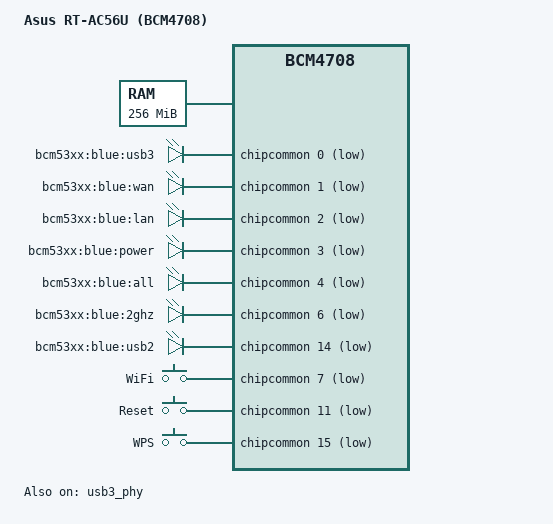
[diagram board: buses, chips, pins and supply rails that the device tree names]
// SPDX-License-Identifier: GPL-2.0-or-later OR MIT
/*
 * Broadcom BCM470X / BCM5301X ARM platform code.
 * DTS for Asus RT-AC56U
 *
 * Copyright (C) 2015 Rafał Miłecki <zajec5@gmail.com>
 */

/dts-v1/;

#include "bcm4708.dtsi"
#include "bcm5301x-nand-cs0-bch8.dtsi"

/ {
	compatible = "asus,rt-ac56u", "brcm,bcm4708";
	model = "Asus RT-AC56U (BCM4708)";

	chosen {
		bootargs = "console=ttyS0,115200";
	};

	memory@0 {
		device_type = "memory";
		reg = <0x00000000 0x08000000>,
		      <0x88000000 0x08000000>;
	};

	leds {
		compatible = "gpio-leds";

		led-usb3 {
			label = "bcm53xx:blue:usb3";
			gpios = <&chipcommon 0 GPIO_ACTIVE_LOW>;
		};

		led-wan {
			label = "bcm53xx:blue:wan";
			gpios = <&chipcommon 1 GPIO_ACTIVE_LOW>;
		};

		led-lan {
			label = "bcm53xx:blue:lan";
			gpios = <&chipcommon 2 GPIO_ACTIVE_LOW>;
		};

		led-power {
			label = "bcm53xx:blue:power";
			gpios = <&chipcommon 3 GPIO_ACTIVE_LOW>;
			linux,default-trigger = "default-on";
		};

		led-all {
			label = "bcm53xx:blue:all";
			gpios = <&chipcommon 4 GPIO_ACTIVE_LOW>;
			linux,default-trigger = "default-on";
		};

		led-2ghz {
			label = "bcm53xx:blue:2ghz";
			gpios = <&chipcommon 6 GPIO_ACTIVE_LOW>;
		};

		led-usb2 {
			label = "bcm53xx:blue:usb2";
			gpios = <&chipcommon 14 GPIO_ACTIVE_LOW>;
		};
	};

	gpio-keys {
		compatible = "gpio-keys";

		button-rfkill {
			label = "WiFi";
			linux,code = <KEY_RFKILL>;
			gpios = <&chipcommon 7 GPIO_ACTIVE_LOW>;
		};

		button-restart {
			label = "Reset";
			linux,code = <KEY_RESTART>;
			gpios = <&chipcommon 11 GPIO_ACTIVE_LOW>;
		};

		button-wps {
			label = "WPS";
			linux,code = <KEY_WPS_BUTTON>;
			gpios = <&chipcommon 15 GPIO_ACTIVE_LOW>;
		};
	};
};

&usb3_phy {
	status = "okay";
};
